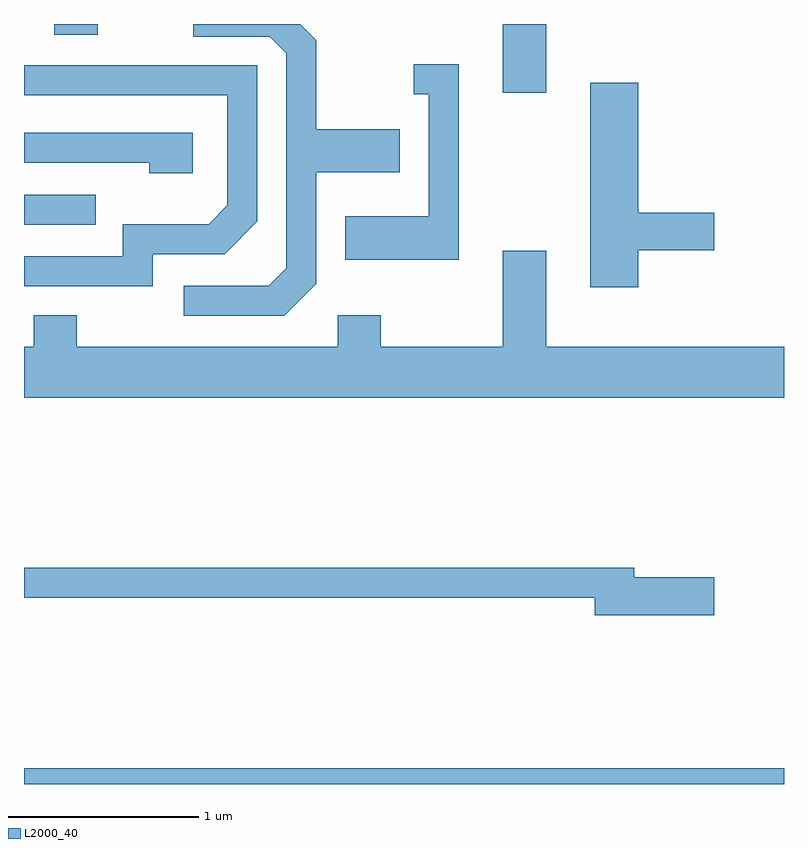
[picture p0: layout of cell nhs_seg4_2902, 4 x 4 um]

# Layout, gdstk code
import gdstk
lib = gdstk.Library(unit=1e-6, precision=1e-09)
def R(c, l, rs):  # rectangles x0, y0, x1, y1
    for r in rs: c.add(gdstk.rectangle(r[:2], r[2:], *l))
def P(c, l, *ps):  # polygons
    for p in ps: c.add(gdstk.Polygon(p, *l))
L2000_40 = (2000, 40)

nhs_seg4_2902 = lib.new_cell('nhs_seg4_2902')
R(nhs_seg4_2902, L2000_40, [(269.611,1345.982,273.611,1346.064), (269.611,1348.926,269.988,1349.084), (272.131,1349.621,272.359,1349.982), (269.771,1349.926,269.999,1349.982)])
P(nhs_seg4_2902, L2000_40, [(271.149,1348.614),(271.149,1349.201),(271.589,1349.201),(271.589,1349.429),(271.149,1349.429),(271.149,1349.897),(271.064,1349.982),(270.503,1349.982),(270.503,1349.916),(270.904,1349.916),(270.991,1349.829),(270.991,1348.697),(270.899,1348.604),(270.453,1348.604),(270.453,1348.446),(270.982,1348.446)],
  [(271.899,1349.769),(271.663,1349.769),(271.663,1349.611),(271.741,1349.611),(271.741,1348.969),(271.301,1348.969),(271.301,1348.741),(271.899,1348.741)],
  [(270.289,1348.771),(270.667,1348.771),(270.839,1348.944),(270.839,1349.764),(269.611,1349.764),(269.611,1349.606),(270.681,1349.606),(270.681,1349.027),(270.584,1348.929),(270.131,1348.929),(270.131,1348.759),(269.611,1348.759),(269.611,1348.601),(270.289,1348.601)],
  [(272.844,1348.791),(273.244,1348.791),(273.244,1348.989),(272.844,1348.989),(272.844,1349.674),(272.591,1349.674),(272.591,1348.596),(272.844,1348.596)],
  [(270.499,1349.409),(269.611,1349.409),(269.611,1349.251),(270.271,1349.251),(270.271,1349.196),(270.499,1349.196)],
  [(273.611,1348.284),(272.359,1348.284),(272.359,1348.789),(272.131,1348.789),(272.131,1348.284),(271.489,1348.284),(271.489,1348.449),(271.261,1348.449),(271.261,1348.284),(269.889,1348.284),(269.889,1348.449),(269.661,1348.449),(269.661,1348.284),(269.611,1348.284),(269.611,1348.016),(273.611,1348.016)],
  [(273.244,1347.069),(272.824,1347.069),(272.824,1347.119),(269.611,1347.119),(269.611,1346.961),(272.616,1346.961),(272.616,1346.871),(273.244,1346.871)])

lib.write_gds('nhs_seg4_2902.gds')
